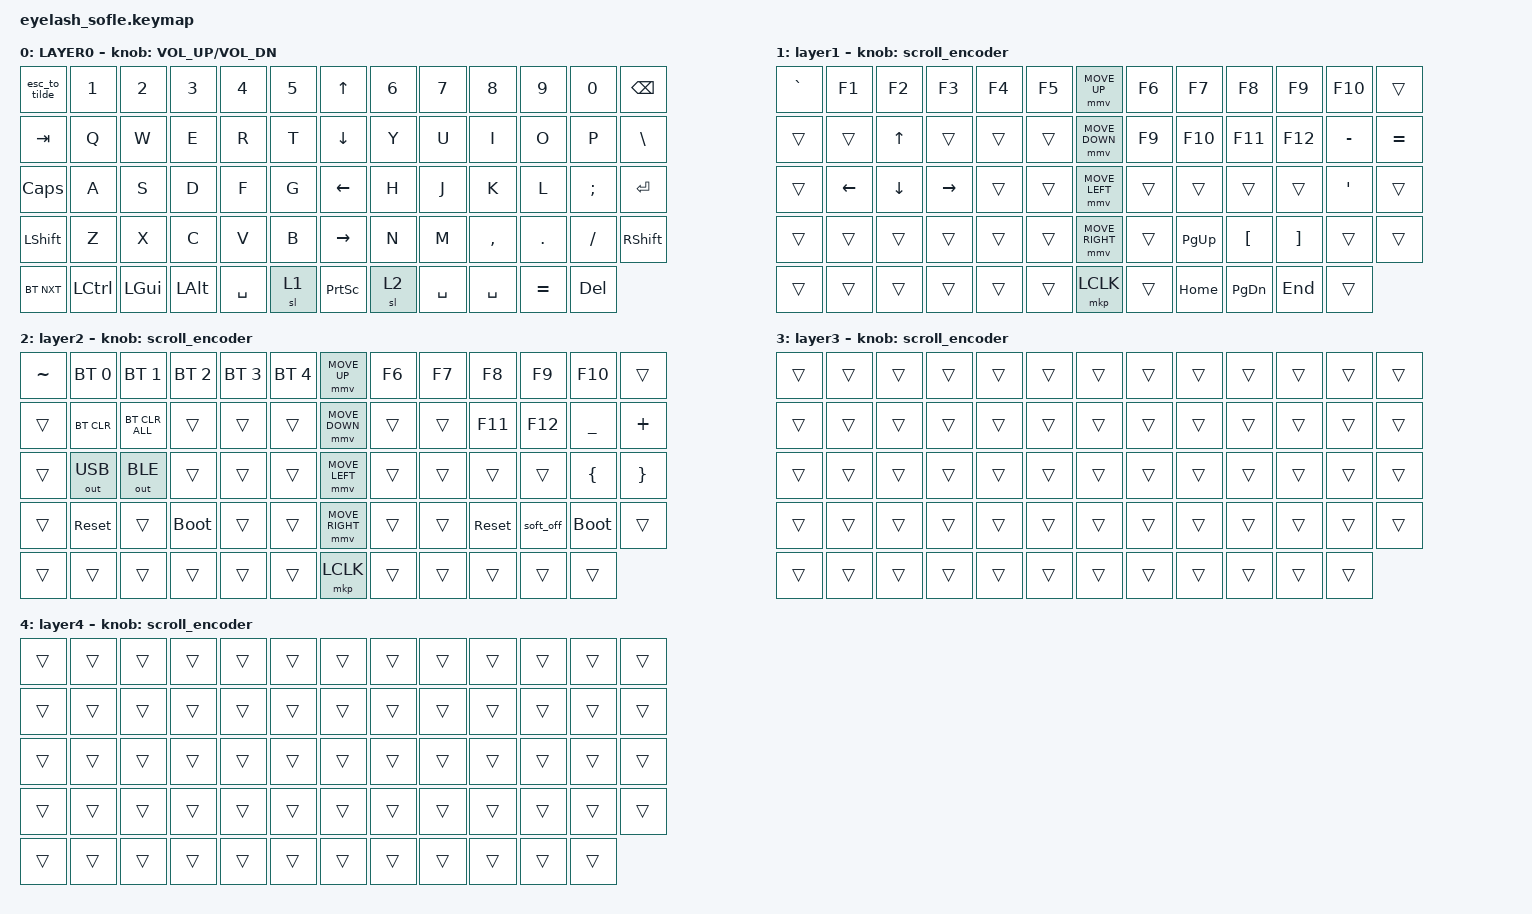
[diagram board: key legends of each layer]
#define ZMK_POINTING_DEFAULT_MOVE_VAL 1200  // 600
#define ZMK_POINTING_DEFAULT_SCRL_VAL 25   // 10

#include <input/processors.dtsi>
#include <zephyr/dt-bindings/input/input-event-codes.h>
#include <behaviors.dtsi>
#include <dt-bindings/zmk/bt.h>
#include <dt-bindings/zmk/keys.h>
#include <dt-bindings/zmk/outputs.h>
#include <dt-bindings/zmk/pointing.h>

&mmv_input_listener { input-processors = <&zip_xy_scaler 2 1>; };

&msc_input_listener { input-processors = <&zip_scroll_scaler 2 1>; };

&msc {
    acceleration-exponent = <1>;      // 0
    time-to-max-speed-ms = <100>;       // 300
    delay-ms = <0>;                   // 0
};

&mmv {
    time-to-max-speed-ms = <500>;
    acceleration-exponent = <1>;
    trigger-period-ms = <16>;
};

&soft_off { hold-time-ms = <2000>; };

/ {
    scroll_encoder: scroll_encoder {
        compatible = "zmk,behavior-sensor-rotate";
        #sensor-binding-cells = <0>;
        bindings = <&msc SCRL_DOWN>, <&msc SCRL_UP>;

        tap-ms = <100>;
    };

    esc_to_tilde: esc_to_tilde {
        compatible = "zmk,behavior-mod-morph";
        label = "ESC_TO_TILDE";
        bindings = <&kp ESCAPE>, <&kp TILDE>;

        #binding-cells = <0>;
        mods = <(MOD_LSFT)>;
    };

    behaviors {
    };

    combos {
        compatible = "zmk,combos";

        softoff {
            bindings = <&soft_off>;
            key-positions = <14 28 40>;
        };

        Switch_to_layer_3 {
            bindings = <&tog 3>;
            key-positions = <57 59>;
        };
    };

    macros {
        SHIFT_MCLK: SHIFT_MCLK {
            compatible = "zmk,behavior-macro";
            #binding-cells = <0>;
            bindings =
                <&macro_press>,
                <&kp LEFT_SHIFT>,
                <&macro_press>,
                <&mkp MB3>,
                <&macro_pause_for_release>,
                <&macro_release>,
                <&kp LEFT_SHIFT &mkp MB3>;

            label = "SHIFT_MCLK";
        };
    };

    keymap {
        compatible = "zmk,keymap";

        layer0 {
            bindings = <
&esc_to_tilde  &kp N1     &kp N2        &kp N3        &kp N4     &kp N5    &kp UP_ARROW     &kp N6  &kp N7     &kp N8     &kp N9     &kp N0      &kp BACKSPACE
&kp TAB        &kp Q      &kp W         &kp E         &kp R      &kp T     &kp DOWN_ARROW   &kp Y   &kp U      &kp I      &kp O      &kp P       &kp BSLH
&kp CAPS       &kp A      &kp S         &kp D         &kp F      &kp G     &kp LEFT_ARROW   &kp H   &kp J      &kp K      &kp L      &kp SEMI    &kp ENTER
&kp LSHFT      &kp Z      &kp X         &kp C         &kp V      &kp B     &kp RIGHT_ARROW  &kp N   &kp M      &kp COMMA  &kp DOT    &kp FSLH    &kp RIGHT_SHIFT
&bt BT_NXT     &kp LCTRL  &kp LEFT_GUI  &kp LEFT_ALT  &kp SPACE  &sl 1     &kp PRINTSCREEN  &sl 2   &kp SPACE  &kp SPACE  &kp EQUAL  &kp DELETE
            >;

            sensor-bindings = <&inc_dec_kp C_VOLUME_UP C_VOL_DN>;
            display-name = "LAYER0";
        };

        layer_1 {
            bindings = <
&kp GRAVE  &kp F1          &kp F2          &kp F3     &kp F4  &kp F5    &mmv MOVE_UP     &kp F6  &kp F7       &kp F8            &kp F9             &kp F10    &trans
&trans     &trans          &kp UP_ARROW    &trans     &trans  &trans    &mmv MOVE_DOWN   &kp F9  &kp F10      &kp F11           &kp F12            &kp MINUS  &kp EQUAL
&trans     &kp LEFT_ARROW  &kp DOWN_ARROW  &kp RIGHT  &trans  &trans    &mmv MOVE_LEFT   &trans  &trans       &trans            &trans             &kp SQT    &trans
&trans     &trans          &trans          &trans     &trans  &trans    &mmv MOVE_RIGHT  &trans  &kp PAGE_UP  &kp LEFT_BRACKET  &kp RIGHT_BRACKET  &trans     &trans
&trans     &trans          &trans          &trans     &trans  &trans    &mkp LCLK        &trans  &kp HOME     &kp PAGE_DOWN     &kp END            &trans
            >;

            display-name = "layer1";
            sensor-bindings = <&scroll_encoder>;
        };

        layer_2 {
            bindings = <
&kp TILDE  &bt BT_SEL 0  &bt BT_SEL 1    &bt BT_SEL 2  &bt BT_SEL 3  &bt BT_SEL 4    &mmv MOVE_UP     &kp F6  &kp F7  &kp F8      &kp F9     &kp F10      &trans
&trans     &bt BT_CLR    &bt BT_CLR_ALL  &trans        &trans        &trans          &mmv MOVE_DOWN   &trans  &trans  &kp F11     &kp F12    &kp UNDER    &kp PLUS
&trans     &out OUT_USB  &out OUT_BLE    &trans        &trans        &trans          &mmv MOVE_LEFT   &trans  &trans  &trans      &trans     &kp LBRC     &kp RBRC
&trans     &sys_reset    &trans          &bootloader   &trans        &trans          &mmv MOVE_RIGHT  &trans  &trans  &sys_reset  &soft_off  &bootloader  &trans
&trans     &trans        &trans          &trans        &trans        &trans          &mkp LCLK        &trans  &trans  &trans      &trans     &trans
            >;

            display-name = "layer2";
            sensor-bindings = <&scroll_encoder>;
        };

        layer_3 {
            bindings = <
&trans  &trans  &trans  &trans  &trans  &trans    &trans  &trans  &trans  &trans  &trans  &trans  &trans
&trans  &trans  &trans  &trans  &trans  &trans    &trans  &trans  &trans  &trans  &trans  &trans  &trans
&trans  &trans  &trans  &trans  &trans  &trans    &trans  &trans  &trans  &trans  &trans  &trans  &trans
&trans  &trans  &trans  &trans  &trans  &trans    &trans  &trans  &trans  &trans  &trans  &trans  &trans
&trans  &trans  &trans  &trans  &trans  &trans    &trans  &trans  &trans  &trans  &trans  &trans
            >;

            display-name = "layer3";
            sensor-bindings = <&scroll_encoder>;
        };

        layer_4 {
            bindings = <
&trans  &trans  &trans  &trans  &trans  &trans    &trans  &trans  &trans  &trans  &trans  &trans  &trans
&trans  &trans  &trans  &trans  &trans  &trans    &trans  &trans  &trans  &trans  &trans  &trans  &trans
&trans  &trans  &trans  &trans  &trans  &trans    &trans  &trans  &trans  &trans  &trans  &trans  &trans
&trans  &trans  &trans  &trans  &trans  &trans    &trans  &trans  &trans  &trans  &trans  &trans  &trans
&trans  &trans  &trans  &trans  &trans  &trans    &trans  &trans  &trans  &trans  &trans  &trans
            >;

            display-name = "layer4";
            sensor-bindings = <&scroll_encoder>;
        };
    };
};
